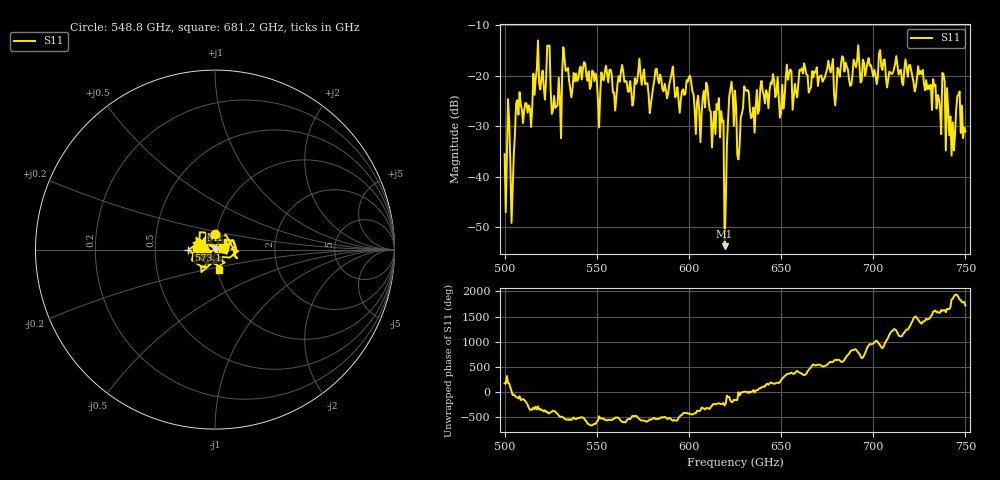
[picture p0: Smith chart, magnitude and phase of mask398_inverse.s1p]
!Created with skrf (http://scikit-rf.org).
# GHz S MA R 50.0
!freq magS11 angS11
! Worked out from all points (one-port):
!   401 points, 500 GHz to 750 GHz, reference 50 ohm
!   lowest |S11| = -53.8 dB at 619.4 GHz (marker M1), VSWR 1.00, Z = 50 + j0.205 ohm
!   |S11| at or under -10 dB: start of sweep to end of sweep
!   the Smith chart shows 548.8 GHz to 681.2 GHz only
!   S11 on the Smith chart (normalised r, x): 548.8 GHz: 0.99, +0.18; 573.1 GHz: 0.74, -0.00; 681.2 GHz: 1.02, -0.23
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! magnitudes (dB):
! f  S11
! 500 GHz  -35.5
! 504.4 GHz  -42.5
! 507.5 GHz  -27.7
! 513.8 GHz  -26.5
! 516.9 GHz  -20.6
! 523.8 GHz  -14.1
! 526.9 GHz  -24.0
! 531.2 GHz  -19.0
! 548.8 GHz  -21.1
! 562.5 GHz  -21.1
! 573.1 GHz  -16.6
! 593.8 GHz  -22.3
! 600 GHz  -20.2
! 605 GHz  -23.9
! 609.4 GHz  -21.3
! 617.5 GHz  -27.0
! 619.4 GHz  -53.8
! 620.6 GHz  -33.5
! 622.5 GHz  -22.6
! 625 GHz  -23.0
! 627.5 GHz  -33.8
! 631.2 GHz  -23.0
! 634.4 GHz  -27.9
! 656.2 GHz  -26.7
! 681.2 GHz  -18.9
! 687.5 GHz  -22.0
! 718.8 GHz  -20.2
! 750 GHz  -31.0
